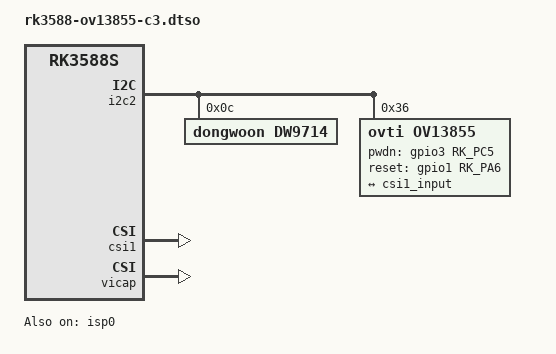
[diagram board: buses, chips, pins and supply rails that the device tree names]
// SPDX-License-Identifier: (GPL-2.0+ OR MIT)
/*
 * OV13855 camera module (CMK-OT2016-FV1) on the CAM3 connector of the
 * Orange Pi 5 (RK3588S).
 *
 * Control signals are from the vendor device tree
 * (rk3588s-orangepi-5-camera3.dtsi). Data goes through the Samsung DC-PHY
 * (mipidcphy1) in receive mode to the CSI-2 host at 0xfdd20000, which needs
 * the kernel-patches/0014 and 0015 patches.
 */

/dts-v1/;
/plugin/;

#include <dt-bindings/clock/rockchip,rk3588-cru.h>
#include <dt-bindings/gpio/gpio.h>
#include <dt-bindings/pinctrl/rockchip.h>

/ {
	compatible = "rockchip,rk3588s";
};

&i2c2 {
	#address-cells = <1>;
	#size-cells = <0>;

	/*
	 * Voice coil motor for the lens. The vendor tree describes a VM149C
	 * here, which is register compatible with the DW9714 that mainline
	 * has a driver for. Focus is set manually via V4L2_CID_FOCUS_ABSOLUTE
	 * on /dev/v4l-subdev*; the rkisp2 IPA has no autofocus algorithm.
	 */
	dw9714: focus@c {
		compatible = "dongwoon,dw9714";
		reg = <0x0c>;
	};

	ov13855: camera-sensor@36 {
		compatible = "ovti,ov13855";
		reg = <0x36>;

		assigned-clocks = <&cru CLK_MIPI_CAMARAOUT_M4>;
		assigned-clock-rates = <24000000>;
		clocks = <&cru CLK_MIPI_CAMARAOUT_M4>;
		clock-names = "xvclk";

		pinctrl-names = "default";
		pinctrl-0 = <&mipim0_camera4_clk &cam3_rstn &cam3_pwdn>;
		pwdn-gpios = <&gpio3 RK_PC5 GPIO_ACTIVE_HIGH>;
		reset-gpios = <&gpio1 RK_PA6 GPIO_ACTIVE_HIGH>;

		lens-focus = <&dw9714>;
		orientation = <2>; /* External */

		/*
		 * The Rockchip ov13855 driver fails probe with -EINVAL if any
		 * of these four are missing.
		 */
		rockchip,camera-module-index = <0>;
		rockchip,camera-module-facing = "back";
		rockchip,camera-module-name = "CMK-OT2016-FV1";
		rockchip,camera-module-lens-name = "default";

		port {
			ov13855_output: endpoint {
				data-lanes = <1 2 3 4>;
				link-frequencies = /bits/ 64 <540000000 270000000>;
				remote-endpoint = <&csi1_input>;
			};
		};
	};
};

&pinctrl {
	cam3 {
		cam3_rstn: cam3-rstn-pinctrl {
			rockchip,pins = <1 RK_PA6 RK_FUNC_GPIO &pcfg_pull_none>;
		};

		cam3_pwdn: cam3-pwdn-pinctrl {
			rockchip,pins = <3 RK_PC5 RK_FUNC_GPIO &pcfg_pull_none>;
		};
	};
};

&csi1 {
	status = "okay";
};

&csi1_in {
	csi1_input: endpoint {
		data-lanes = <1 2 3 4>;
		link-frequencies = /bits/ 64 <540000000 270000000>;
		remote-endpoint = <&ov13855_output>;
	};
};

&vicap {
	status = "okay";
};

&vicap_mmu {
	status = "okay";
};

/*
 * Only ISP0 is enabled. rkisp2 registers one media device per ISP instance,
 * all named "rkisp2", and the libcamera pipeline handler takes the first one
 * that matches; enabling ISP1 as well would make that choice ambiguous.
 *
 * There is deliberately no device tree link from VICAP to the ISP: this
 * driver runs the ISP in memory-to-memory mode, so userspace captures raw
 * frames from rkcif-mipi1-id0 and feeds them back in through rkisp2_rawrd0.
 */
&isp0 {
	status = "okay";
};

&isp0_mmu {
	status = "okay";
};
